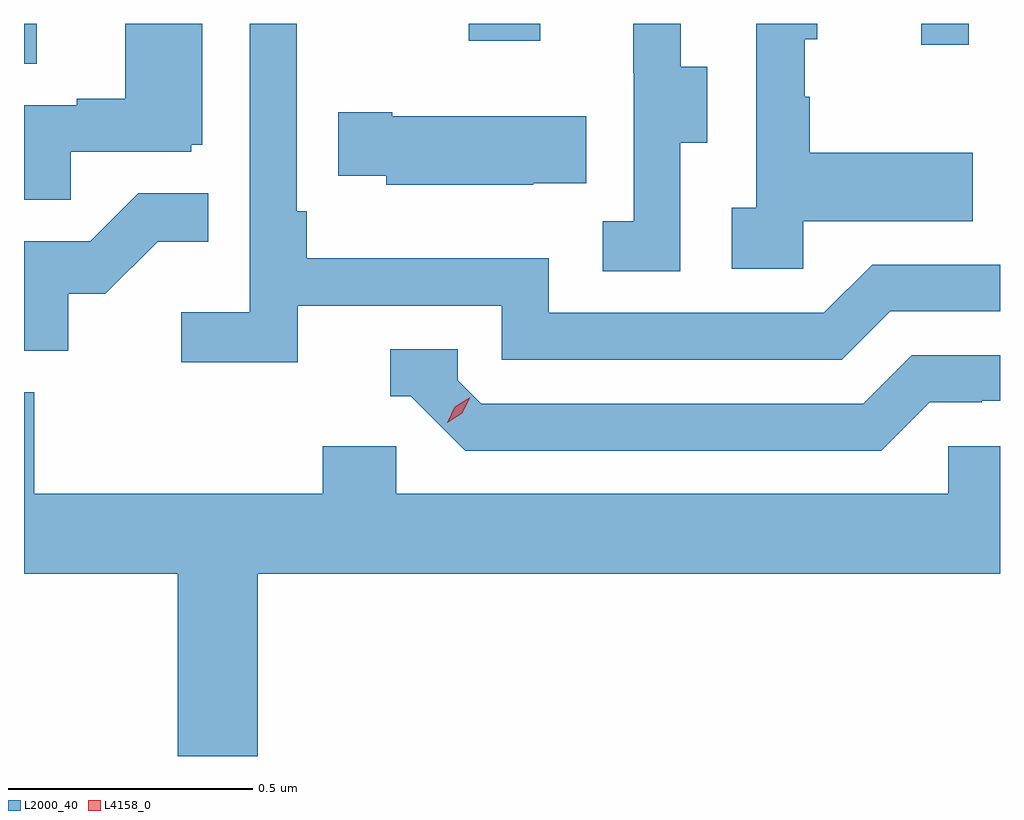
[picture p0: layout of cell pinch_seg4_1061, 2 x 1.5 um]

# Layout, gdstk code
import gdstk
lib = gdstk.Library(unit=1e-6, precision=1e-09)
def R(c, l, rs):  # rectangles x0, y0, x1, y1
    for r in rs: c.add(gdstk.rectangle(r[:2], r[2:], *l))
def P(c, l, *ps):  # polygons
    for p in ps: c.add(gdstk.Polygon(p, *l))
L2000_40 = (2000, 40)
L4158_0 = (4158, 0)

pinch_seg4_1061 = lib.new_cell('pinch_seg4_1061')
R(pinch_seg4_1061, L2000_40, [(800.057,763.234,800.083,763.316), (801.896,763.272,801.993,763.316), (800.968,763.281,801.115,763.316)])
P(pinch_seg4_1061, L2000_40, [(801.402,763.072),(801.457,763.072),(801.457,763.227),(801.403,763.227),(801.403,763.316),(801.305,763.316),(801.305,763.215),(801.306,763.215),(801.306,762.911),(801.243,762.911),(801.243,762.808),(801.402,762.808)],
  [(801.654,762.911),(802.001,762.911),(802.001,763.051),(801.667,763.051),(801.667,763.166),(801.657,763.166),(801.657,763.284),(801.682,763.284),(801.682,763.316),(801.558,763.316),(801.558,762.938),(801.507,762.938),(801.507,762.813),(801.654,762.813)],
  [(800.153,763.053),(800.4,763.053),(800.4,763.068),(800.422,763.068),(800.422,763.316),(800.264,763.316),(800.264,763.162),(800.165,763.162),(800.165,763.149),(800.058,763.149),(800.058,762.955),(800.153,762.955)],
  [(800.618,762.738),(801.036,762.738),(801.036,762.627),(801.733,762.627),(801.832,762.726),(802.057,762.726),(802.057,762.822),(801.795,762.822),(801.696,762.723),(801.132,762.723),(801.132,762.835),(800.636,762.835),(800.636,762.931),(800.616,762.931),(800.616,763.316),(800.52,763.316),(800.52,762.724),(800.379,762.724),(800.379,762.622),(800.618,762.622)],
  [(801.101,762.989),(801.209,762.989),(801.209,763.126),(800.812,763.126),(800.812,763.134),(800.701,763.134),(800.701,763.004),(800.799,763.004),(800.799,762.986),(801.101,762.986)],
  [(800.148,762.762),(800.224,762.762),(800.331,762.869),(800.435,762.869),(800.435,762.968),(800.291,762.968),(800.193,762.87),(800.057,762.87),(800.057,762.645),(800.148,762.645)],
  [(801.913,762.54),(802.02,762.54),(802.02,762.543),(802.057,762.543),(802.057,762.636),(801.876,762.636),(801.777,762.537),(800.994,762.537),(800.946,762.585),(800.946,762.648),(800.807,762.648),(800.807,762.552),(800.85,762.552),(800.961,762.441),(801.814,762.441)],
  [(800.536,762.188),(802.057,762.188),(802.057,762.45),(801.951,762.45),(801.951,762.352),(800.82,762.352),(800.82,762.45),(800.669,762.45),(800.669,762.352),(800.078,762.352),(800.078,762.56),(800.057,762.56),(800.057,762.188),(800.372,762.188),(800.372,761.814),(800.536,761.814)])
P(pinch_seg4_1061, L4158_0, [(800.924,762.498),(800.924,762.498),(800.94,762.531),(800.971,762.55),(800.971,762.55),(800.971,762.55),(800.955,762.517),(800.924,762.498)])

lib.write_gds('pinch_seg4_1061.gds')
